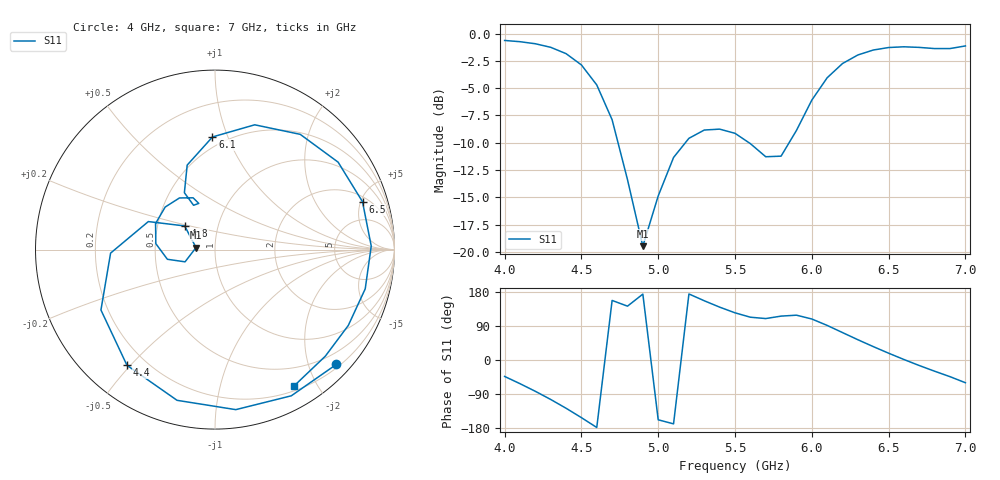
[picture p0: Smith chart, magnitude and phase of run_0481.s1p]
! Touchstone file exported from HFSS 2024.2.0
!  File:  C:/Users/wsak9/Desktop/Sim Fast/Widenad Patch/WP_AI_V1_sweep.aedt
!  Generated:  12:05:56 PM Oct 14, 2026
!  Design:  A1_model
!  Project:  WP_AI_V1_sweep
!  Setup:  Setup1
!  Solution:  Sweep
! Variables:
!  Air_gap = 2.63mm
!  Curve_Amp1 = 1.38
!  Curve_len1 = 1
!  Curve_pos = 11.51mm
!  Extra = 5.43mm
!  H_sub = 0.79mm
!  L_Patch = 19.02mm
!  L_Patch1 = 16.44mm
!  Sx = 3mm
!  Sy = 1.36mm
!  WS = 1.48mm
!  W_Patch = 16.86mm
!  W_Patch1 = 11.01mm
!Data is not renormalized
# GHz S MA
! Terminal data exported
! Port[1] = 1
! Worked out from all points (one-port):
!   31 points, 4 GHz to 7 GHz, reference per port
!   lowest |S11| = -19.5 dB at 4.9 GHz (marker M1), VSWR 1.24
!   |S11| at or under -10 dB: 4.738 GHz to 5.177 GHz (438.5 MHz wide, 8.85 % of centre); 5.591 GHz to 5.852 GHz (260.9 MHz wide, 4.56 % of centre)
!   S11 on the Smith chart (normalised r, x): 4 GHz: 0.26, -2.49; 4.4 GHz: 0.13, -0.49; 4.8 GHz: 0.69, +0.19; 6.1 GHz: 0.43, +0.88; 6.5 GHz: 2.46, +5.18; 7 GHz: 0.26, -1.70
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4  0.9309 -43.4
4.1  0.9188 -62.4
4.2  0.8991 -82.6
4.3  0.8659 -104.1
4.4  0.81 -127.3
4.5  0.719 -152.1
4.6  0.582 -178.1
4.7  0.4029 157.2
4.8  0.2143 142.1
4.9  0.1061 173.9
5  0.1803 -157.8
5.1  0.2707 -168.5
5.2  0.3314 174.3
5.3  0.3616 156.3
5.5  0.3493 124.5
5.7  0.2728 109.4
5.8  0.2744 115.8
5.9  0.3599 118.3
6  0.4957 108.2
6.1  0.6278 91.3
6.2  0.7297 72.3
6.3  0.7987 53.5
6.4  0.8413 35.4
6.5  0.864 18.0
6.6  0.8707 1.3
6.7  0.8651 -14.6
6.9  0.8547 -44.0
7  0.8785 -60.0
